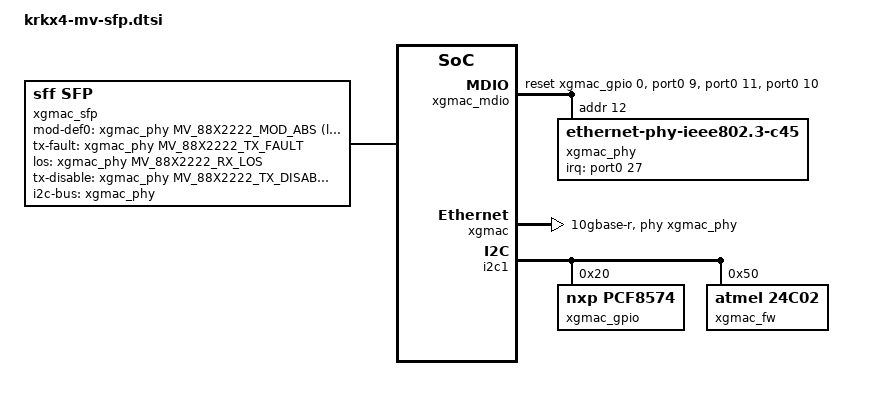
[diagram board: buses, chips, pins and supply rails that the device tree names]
// SPDX-License-Identifier: GPL-2.0-only
/*
 * Copyright (C) 2022 BAIKAL ELECTRONICS, JSC
 *
 * Baikal Electronics KR/KX4 Marvell 88x2222 SFP+ Mezzanine Card device tree
 */

#include <dt-bindings/gpio/gpio.h>
#include <dt-bindings/interrupt-controller/irq.h>
#include <dt-bindings/net/mv-phy-88x2222.h>

/*
 * TODO Convert this file to be a subordinate of a nexus node/connector when the
 * kernel gets ready for it:
 * 3:  I2C SCL
 * 5:  I2C SDA
 * 7:  MDI/MDIO
 * 9:  MDO
 * 11: MDC
 * 12: PHY INT
 * 17,18,19,20: TxN3,RxN3,TxP3,RxP3 - Lane 3 10GBASE-X
 * 23,24,25,26: TxN2,RxN2,TxP2,RxP2 - Lane 2 10GBASE-X
 * 29,30,31,32: TxN1,RxN1,TxP1,RxP1 - Lane 1 10GBASE-X
 * 35,36,37,38: TxN0,RxN0,TxP0,RxP0 - Lane 0 10GBASE-X/10GBASE-R
 */

/ {
	aliases {
		mdio-gpio0 = &xgmac_mdio;
	};

	xgmac_mdio: mdio {
		compatible = "virtual,mdio-gpio";
		#address-cells = <1>;
		#size-cells = <0>;

		/* PORT0.9 - MDC, PORT0.10 - MDO, PORT0.11 - MDI/MDIO */
		gpios = <&port0 9 GPIO_ACTIVE_HIGH>, <&port0 11 GPIO_ACTIVE_HIGH>,
			<&port0 10 GPIO_ACTIVE_HIGH>;

		reset-gpios = <&xgmac_gpio 0 GPIO_ACTIVE_HIGH>;
		reset-delay-us = <10000>;
		reset-post-delay-us = <10000>;

		xgmac_phy: ethernet-phy@c {
			compatible = "ethernet-phy-ieee802.3-c45";
			reg = <0x0c>;

			interrupt-parent = <&port0>;
			interrupts = <27 IRQ_TYPE_LEVEL_LOW>;
			interrupt-controller;
			#interrupt-cells = <2>;

			gpio-controller; /* 12 */
			#gpio-cells = <2>;
			gpio-reserved-ranges = <MV_88X2222_LED0 1>,
					       <MV_88X2222_LED1 1>,
					       <MV_88X2222_SDA 1>,
					       <MV_88X2222_SCL 1>;

			sfp = <&xgmac_sfp>;
		};
	};

	xgmac_sfp: sfp {
		compatible = "sff,sfp";

		i2c-bus = <&xgmac_phy>;

		mod-def0-gpios = <&xgmac_phy MV_88X2222_MOD_ABS GPIO_ACTIVE_LOW>;
		tx-fault-gpios = <&xgmac_phy MV_88X2222_TX_FAULT GPIO_ACTIVE_HIGH>;
		los-gpios = <&xgmac_phy MV_88X2222_RX_LOS GPIO_ACTIVE_HIGH>;
		tx-disable-gpios = <&xgmac_phy MV_88X2222_TX_DISABLE GPIO_ACTIVE_HIGH>;
	};
};

&xgmac {
	/* Possible protocols: 10gbase-r, 10gbase-x/xaui */
	phy-mode = "10gbase-r";

	managed = "auto";

	phy-handle = <&xgmac_phy>;
};

&i2c1 {
	/* Marvell PHY Reset-controller (NXP PCA9500 8-bit GPIO) */
	xgmac_gpio: gpio@20 {
		compatible = "nxp,pcf8574";
		reg = <0x20>;

		gpio-controller; /* 8 */
		#gpio-cells = <2>;

		/* nc - not connected */
		gpio-line-names = "RST_PHY", "nc", "nc", "nc",
				  "nc", "nc", "nc", "nc";
	};

	/* Mezzanine card firmware (NXP PCA9500 2-kbit EEPROM) */
	xgmac_fw: eeprom@50 {
		compatible = "atmel,24c02";
		reg = <0x50>;

		pagesize = <4>;
	};
};
